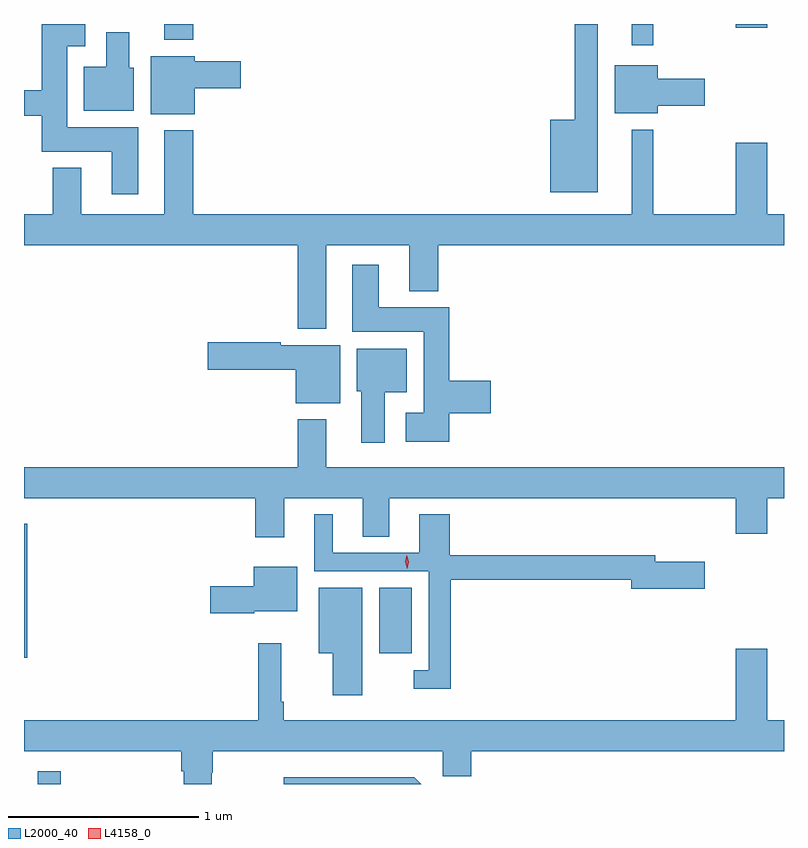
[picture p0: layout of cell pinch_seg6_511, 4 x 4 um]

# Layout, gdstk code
import gdstk
lib = gdstk.Library(unit=1e-6, precision=1e-09)
def R(c, l, rs):  # rectangles x0, y0, x1, y1
    for r in rs: c.add(gdstk.rectangle(r[:2], r[2:], *l))
def P(c, l, *ps):  # polygons
    for p in ps: c.add(gdstk.Polygon(p, *l))
L2000_40 = (2000, 40)
L4158_0 = (4158, 0)

pinch_seg6_511 = lib.new_cell('pinch_seg6_511')
R(pinch_seg6_511, L2000_40, [(760.734,940.504,760.855,940.57), (760.661,941.168,760.679,941.875), (762.53,941.192,762.703,941.536), (763.859,944.391,763.973,944.504), (761.399,944.42,761.552,944.504), (764.408,944.484,764.572,944.504)])
P(pinch_seg6_511, L2000_40, [(763.681,944.504),(763.56,944.504),(763.56,943.999),(763.43,943.999),(763.43,943.619),(763.681,943.619)],
  [(761.263,943.96),(760.888,943.96),(760.888,944.387),(760.984,944.387),(760.984,944.504),(760.754,944.504),(760.754,944.156),(760.661,944.156),(760.661,944.02),(760.754,944.02),(760.754,943.832),(761.123,943.832),(761.123,943.608),(761.263,943.608)],
  [(761.239,944.274),(761.215,944.274),(761.215,944.461),(761.093,944.461),(761.093,944.278),(760.976,944.278),(760.976,944.048),(761.239,944.048)],
  [(761.56,944.165),(761.803,944.165),(761.803,944.307),(761.56,944.307),(761.56,944.335),(761.327,944.335),(761.327,944.03),(761.56,944.03)],
  [(763.996,944.075),(764.245,944.075),(764.245,944.217),(763.996,944.217),(763.996,944.287),(763.769,944.287),(763.769,944.033),(763.996,944.033)],
  [(762.253,943.34),(762.689,943.34),(762.689,943.097),(762.842,943.097),(762.842,943.34),(764.661,943.34),(764.661,943.504),(764.572,943.504),(764.572,943.879),(764.408,943.879),(764.408,943.504),(763.973,943.504),(763.973,943.948),(763.859,943.948),(763.859,943.504),(761.552,943.504),(761.552,943.945),(761.399,943.945),(761.399,943.504),(760.963,943.504),(760.963,943.747),(760.811,943.747),(760.811,943.504),(760.661,943.504),(760.661,943.34),(762.101,943.34),(762.101,942.899),(762.253,942.899)],
  [(762.899,942.455),(763.117,942.455),(763.117,942.626),(762.899,942.626),(762.899,943.012),(762.529,943.012),(762.529,943.237),(762.389,943.237),(762.389,942.884),(762.764,942.884),(762.764,942.457),(762.669,942.457),(762.669,942.305),(762.899,942.305)],
  [(762.325,942.814),(762.012,942.814),(762.012,942.83),(761.628,942.83),(761.628,942.683),(762.092,942.683),(762.092,942.509),(762.325,942.509)],
  [(762.559,942.566),(762.676,942.566),(762.676,942.796),(762.413,942.796),(762.413,942.57),(762.437,942.57),(762.437,942.3),(762.559,942.3)],
  [(762.031,942.008),(762.443,942.008),(762.443,941.806),(762.583,941.806),(762.583,942.008),(764.408,942.008),(764.408,941.82),(764.572,941.82),(764.572,942.008),(764.661,942.008),(764.661,942.172),(762.253,942.172),(762.253,942.424),(762.101,942.424),(762.101,942.172),(760.661,942.172),(760.661,942.008),(761.879,942.008),(761.879,941.802),(762.031,941.802)],
  [(762.908,941.578),(763.856,941.578),(763.856,941.531),(764.245,941.531),(764.245,941.673),(763.984,941.673),(763.984,941.707),(762.902,941.707),(762.902,941.923),(762.74,941.923),(762.74,941.721),(762.286,941.721),(762.286,941.923),(762.188,941.923),(762.188,941.625),(762.792,941.625),(762.792,941.103),(762.711,941.103),(762.711,941.006),(762.908,941.006)],
  [(761.874,941.414),(762.1,941.414),(762.1,941.647),(761.87,941.647),(761.87,941.544),(761.64,941.544),(761.64,941.402),(761.874,941.402)],
  [(762.442,941.536),(762.212,941.536),(762.212,941.192),(762.287,941.192),(762.287,940.971),(762.442,940.971)],
  [(761.649,940.563),(761.654,940.563),(761.654,940.676),(762.864,940.676),(762.864,940.545),(763.016,940.545),(763.016,940.676),(764.661,940.676),(764.661,940.84),(764.572,940.84),(764.572,941.215),(764.408,941.215),(764.408,940.84),(762.029,940.84),(762.029,940.936),(762.014,940.936),(762.014,941.245),(761.893,941.245),(761.893,940.84),(760.661,940.84),(760.661,940.676),(761.489,940.676),(761.489,940.57),(761.501,940.57),(761.501,940.504),(761.649,940.504)],
  [(762.716,940.54),(762.027,940.54),(762.027,940.504),(762.752,940.504)])
P(pinch_seg6_511, L4158_0, [(762.678,941.637),(762.678,941.637),(762.667,941.673),(762.675,941.709),(762.675,941.709),(762.676,941.709),(762.687,941.674),(762.678,941.637)])

lib.write_gds('pinch_seg6_511.gds')
